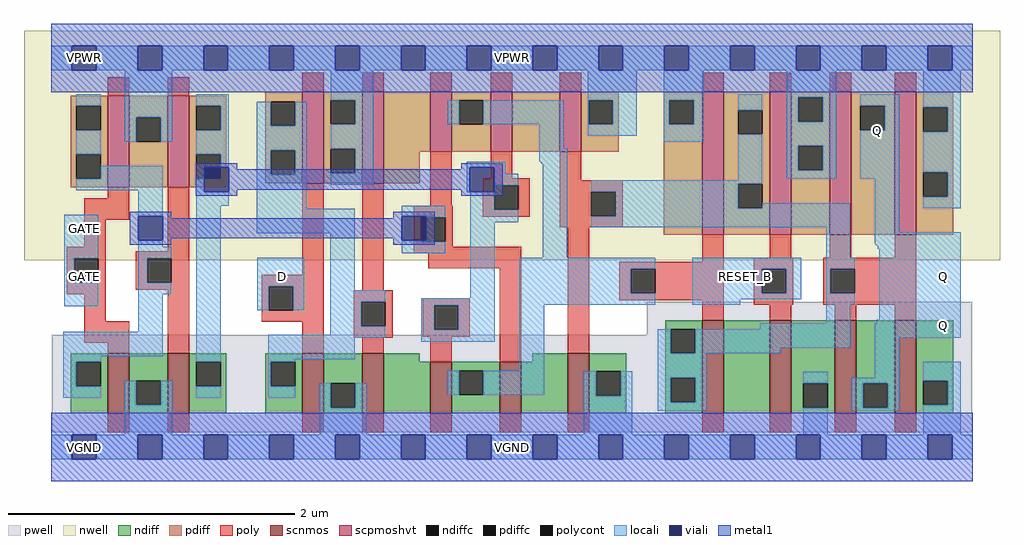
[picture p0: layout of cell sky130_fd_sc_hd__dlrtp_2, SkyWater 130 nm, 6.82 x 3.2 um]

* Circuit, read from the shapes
.subckt sky130_fd_sc_hd__dlrtp_2 D GATE RESET_B VGND VNB VPB VPWR Q
XM1 VGND GATE n1 VNB sky130_fd_pr__nfet_01v8 w=0.42 l=0.15
XM2 n2 n1 VGND VNB sky130_fd_pr__nfet_01v8 w=0.42 l=0.15
XM3 VGND D n3 VNB sky130_fd_pr__nfet_01v8 w=0.42 l=0.15
XM4 n4 n3 VGND VNB sky130_fd_pr__nfet_01v8 w=0.42 l=0.15
XM5 n5 n2 n4 VNB sky130_fd_pr__nfet_01v8 w=0.36 l=0.15
XM6 n6 n1 n5 VNB sky130_fd_pr__nfet_01v8 w=0.36 l=0.15
XM7 VGND n7 n6 VNB sky130_fd_pr__nfet_01v8 w=0.42 l=0.15
XM8 n8 n5 n7 VNB sky130_fd_pr__nfet_01v8 w=0.65 l=0.15
XM9 VGND RESET_B n8 VNB sky130_fd_pr__nfet_01v8 w=0.65 l=0.15
XM10 Q n7 VGND VNB sky130_fd_pr__nfet_01v8 w=0.65 l=0.15 m=2
XM11 VPWR GATE n1 VPB sky130_fd_pr__pfet_01v8_hvt w=0.64 l=0.15
XM12 n2 n1 VPWR VPB sky130_fd_pr__pfet_01v8_hvt w=0.64 l=0.15
XM13 VPWR D n3 VPB sky130_fd_pr__pfet_01v8_hvt w=0.64 l=0.15
XM14 n9 n3 VPWR VPB sky130_fd_pr__pfet_01v8_hvt w=0.64 l=0.15
XM15 n5 n1 n9 VPB sky130_fd_pr__pfet_01v8_hvt w=0.42 l=0.15
XM16 n10 n2 n5 VPB sky130_fd_pr__pfet_01v8_hvt w=0.42 l=0.15
XM17 VPWR n7 n10 VPB sky130_fd_pr__pfet_01v8_hvt w=0.42 l=0.15
XM18 n7 n5 VPWR VPB sky130_fd_pr__pfet_01v8_hvt w=1 l=0.15
XM19 VPWR RESET_B n7 VPB sky130_fd_pr__pfet_01v8_hvt w=1 l=0.15
XM20 Q n7 VPWR VPB sky130_fd_pr__pfet_01v8_hvt w=1 l=0.15 m=2
.ends

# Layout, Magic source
magic
tech sky130A
magscale 1 2
<< nwell >>
rect -38 261 1326 582
<< pwell >>
rect 832 157 1287 203
rect 1 21 1287 157
rect 30 -17 64 21
<< scnmos >>
rect 79 47 109 131
rect 163 47 193 131
rect 351 47 381 131
rect 435 47 465 131
rect 530 47 560 119
rect 627 47 657 119
rect 722 47 752 131
rect 910 47 940 177
rect 1004 47 1034 177
rect 1095 47 1125 177
rect 1179 47 1209 177
<< scpmoshvt >>
rect 79 363 109 491
rect 163 363 193 491
rect 351 369 381 497
rect 435 369 465 497
rect 530 413 560 497
rect 614 413 644 497
rect 711 413 741 497
rect 910 297 940 497
rect 1004 297 1034 497
rect 1088 297 1118 497
rect 1179 297 1209 497
<< ndiff >>
rect 27 119 79 131
rect 27 85 35 119
rect 69 85 79 119
rect 27 47 79 85
rect 109 93 163 131
rect 109 59 119 93
rect 153 59 163 93
rect 109 47 163 59
rect 193 119 245 131
rect 193 85 203 119
rect 237 85 245 119
rect 193 47 245 85
rect 299 119 351 131
rect 299 85 307 119
rect 341 85 351 119
rect 299 47 351 85
rect 381 89 435 131
rect 381 55 391 89
rect 425 55 435 89
rect 381 47 435 55
rect 465 119 515 131
rect 858 165 910 177
rect 858 131 866 165
rect 900 131 910 165
rect 672 119 722 131
rect 465 47 530 119
rect 560 107 627 119
rect 560 73 570 107
rect 604 73 627 107
rect 560 47 627 73
rect 657 47 722 119
rect 752 106 804 131
rect 752 72 762 106
rect 796 72 804 106
rect 752 47 804 72
rect 858 97 910 131
rect 858 63 866 97
rect 900 63 910 97
rect 858 47 910 63
rect 940 47 1004 177
rect 1034 89 1095 177
rect 1034 55 1051 89
rect 1085 55 1095 89
rect 1034 47 1095 55
rect 1125 89 1179 177
rect 1125 55 1135 89
rect 1169 55 1179 89
rect 1125 47 1179 55
rect 1209 93 1261 177
rect 1209 59 1219 93
rect 1253 59 1261 93
rect 1209 47 1261 59
<< pdiff >>
rect 27 477 79 491
rect 27 443 35 477
rect 69 443 79 477
rect 27 409 79 443
rect 27 375 35 409
rect 69 375 79 409
rect 27 363 79 375
rect 109 461 163 491
rect 109 427 119 461
rect 153 427 163 461
rect 109 363 163 427
rect 193 477 245 491
rect 193 443 203 477
rect 237 443 245 477
rect 193 409 245 443
rect 193 375 203 409
rect 237 375 245 409
rect 193 363 245 375
rect 299 483 351 497
rect 299 449 307 483
rect 341 449 351 483
rect 299 415 351 449
rect 299 381 307 415
rect 341 381 351 415
rect 299 369 351 381
rect 381 485 435 497
rect 381 451 391 485
rect 425 451 435 485
rect 381 417 435 451
rect 381 383 391 417
rect 425 383 435 417
rect 381 369 435 383
rect 465 413 530 497
rect 560 485 614 497
rect 560 451 570 485
rect 604 451 614 485
rect 560 413 614 451
rect 644 413 711 497
rect 741 485 793 497
rect 741 451 751 485
rect 785 451 793 485
rect 741 413 793 451
rect 856 485 910 497
rect 856 451 864 485
rect 898 451 910 485
rect 465 369 515 413
rect 856 297 910 451
rect 940 471 1004 497
rect 940 437 960 471
rect 994 437 1004 471
rect 940 368 1004 437
rect 940 334 960 368
rect 994 334 1004 368
rect 940 297 1004 334
rect 1034 489 1088 497
rect 1034 455 1044 489
rect 1078 455 1088 489
rect 1034 421 1088 455
rect 1034 387 1044 421
rect 1078 387 1088 421
rect 1034 297 1088 387
rect 1118 477 1179 497
rect 1118 443 1131 477
rect 1165 443 1179 477
rect 1118 297 1179 443
rect 1209 475 1261 497
rect 1209 441 1219 475
rect 1253 441 1261 475
rect 1209 384 1261 441
rect 1209 350 1219 384
rect 1253 350 1261 384
rect 1209 297 1261 350
<< ndiffc >>
rect 35 85 69 119
rect 119 59 153 93
rect 203 85 237 119
rect 307 85 341 119
rect 391 55 425 89
rect 866 131 900 165
rect 570 73 604 107
rect 762 72 796 106
rect 866 63 900 97
rect 1051 55 1085 89
rect 1135 55 1169 89
rect 1219 59 1253 93
<< pdiffc >>
rect 35 443 69 477
rect 35 375 69 409
rect 119 427 153 461
rect 203 443 237 477
rect 203 375 237 409
rect 307 449 341 483
rect 307 381 341 415
rect 391 451 425 485
rect 391 383 425 417
rect 570 451 604 485
rect 751 451 785 485
rect 864 451 898 485
rect 960 437 994 471
rect 960 334 994 368
rect 1044 455 1078 489
rect 1044 387 1078 421
rect 1131 443 1165 477
rect 1219 441 1253 475
rect 1219 350 1253 384
<< poly >>
rect 79 491 109 517
rect 163 491 193 517
rect 351 497 381 523
rect 435 497 465 523
rect 530 497 560 523
rect 614 497 644 523
rect 711 497 741 523
rect 910 497 940 523
rect 1004 497 1034 523
rect 1088 497 1118 523
rect 1179 497 1209 523
rect 79 348 109 363
rect 46 318 109 348
rect 46 280 76 318
rect 22 264 76 280
rect 163 274 193 363
rect 22 230 32 264
rect 66 230 76 264
rect 22 214 76 230
rect 118 264 193 274
rect 118 230 134 264
rect 168 230 193 264
rect 351 241 381 369
rect 118 220 193 230
rect 46 176 76 214
rect 46 146 109 176
rect 79 131 109 146
rect 163 131 193 220
rect 294 225 381 241
rect 294 191 304 225
rect 338 191 381 225
rect 435 219 465 369
rect 530 337 560 413
rect 614 376 644 413
rect 603 366 669 376
rect 507 321 561 337
rect 603 332 619 366
rect 653 332 669 366
rect 603 322 669 332
rect 711 373 741 413
rect 711 357 799 373
rect 711 323 755 357
rect 789 323 799 357
rect 507 287 517 321
rect 551 287 561 321
rect 711 307 799 323
rect 507 280 561 287
rect 507 271 657 280
rect 527 250 657 271
rect 294 175 381 191
rect 351 131 381 175
rect 423 203 477 219
rect 423 169 433 203
rect 467 169 477 203
rect 423 153 477 169
rect 519 198 585 208
rect 519 164 535 198
rect 569 164 585 198
rect 519 154 585 164
rect 435 131 465 153
rect 530 119 560 154
rect 627 119 657 250
rect 722 131 752 307
rect 910 259 940 297
rect 1004 265 1034 297
rect 1088 265 1118 297
rect 1179 265 1209 297
rect 794 249 940 259
rect 794 215 810 249
rect 844 215 940 249
rect 794 205 940 215
rect 910 177 940 205
rect 982 249 1037 265
rect 982 215 993 249
rect 1027 215 1037 249
rect 982 199 1037 215
rect 1079 249 1209 265
rect 1079 215 1089 249
rect 1123 215 1209 249
rect 1079 199 1209 215
rect 1004 177 1034 199
rect 1095 177 1125 199
rect 1179 177 1209 199
rect 79 21 109 47
rect 163 21 193 47
rect 351 21 381 47
rect 435 21 465 47
rect 530 21 560 47
rect 627 21 657 47
rect 722 21 752 47
rect 910 21 940 47
rect 1004 21 1034 47
rect 1095 21 1125 47
rect 1179 21 1209 47
<< polycont >>
rect 32 230 66 264
rect 134 230 168 264
rect 304 191 338 225
rect 619 332 653 366
rect 755 323 789 357
rect 517 287 551 321
rect 433 169 467 203
rect 535 164 569 198
rect 810 215 844 249
rect 993 215 1027 249
rect 1089 215 1123 249
<< locali >>
rect 0 527 29 561
rect 63 527 121 561
rect 155 527 213 561
rect 247 527 305 561
rect 339 527 397 561
rect 431 527 489 561
rect 523 527 581 561
rect 615 527 673 561
rect 707 527 765 561
rect 799 527 857 561
rect 891 527 949 561
rect 983 527 1041 561
rect 1075 527 1133 561
rect 1167 527 1225 561
rect 1259 527 1288 561
rect 35 477 69 493
rect 35 409 69 443
rect 103 461 169 527
rect 103 427 119 461
rect 153 427 169 461
rect 203 477 248 493
rect 391 485 450 527
rect 750 485 818 527
rect 237 443 248 477
rect 203 409 248 443
rect 69 375 156 393
rect 35 359 156 375
rect 18 264 66 325
rect 18 230 32 264
rect 18 197 66 230
rect 122 323 156 359
rect 122 280 156 289
rect 237 391 248 409
rect 203 357 214 375
rect 203 337 248 357
rect 287 449 307 483
rect 341 449 357 483
rect 287 415 357 449
rect 287 381 307 415
rect 341 381 357 415
rect 122 264 168 280
rect 122 230 134 264
rect 122 214 168 230
rect 122 161 156 214
rect 17 127 156 161
rect 17 119 69 127
rect 17 85 35 119
rect 203 119 237 337
rect 287 333 357 381
rect 425 451 450 485
rect 554 451 570 485
rect 604 451 716 485
rect 391 417 450 451
rect 425 383 450 417
rect 682 417 716 451
rect 750 451 751 485
rect 785 451 818 485
rect 750 435 818 451
rect 856 485 912 527
rect 856 451 864 485
rect 898 451 912 485
rect 856 427 912 451
rect 960 471 994 493
rect 682 400 721 417
rect 683 399 721 400
rect 391 367 450 383
rect 581 391 635 399
rect 684 397 721 399
rect 581 357 585 391
rect 619 382 635 391
rect 619 366 653 382
rect 581 356 619 357
rect 287 299 424 333
rect 288 225 354 265
rect 288 191 304 225
rect 338 191 354 225
rect 390 219 424 299
rect 490 323 551 337
rect 524 321 551 323
rect 490 287 517 289
rect 490 271 551 287
rect 586 332 619 356
rect 586 314 653 332
rect 390 203 467 219
rect 586 208 620 314
rect 687 265 721 397
rect 960 373 994 437
rect 1028 489 1097 527
rect 1028 455 1044 489
rect 1078 455 1097 489
rect 1028 421 1097 455
rect 1028 387 1044 421
rect 1078 387 1097 421
rect 1028 375 1097 387
rect 1131 477 1185 493
rect 1165 443 1185 477
rect 1131 375 1185 443
rect 755 368 994 373
rect 755 357 960 368
rect 789 334 960 357
rect 994 334 1117 341
rect 789 323 1117 334
rect 755 307 1117 323
rect 1083 265 1117 307
rect 1151 300 1185 375
rect 1219 475 1271 527
rect 1253 441 1271 475
rect 1219 384 1271 441
rect 1253 350 1271 384
rect 1219 334 1271 350
rect 1151 285 1271 300
rect 1152 283 1271 285
rect 1153 282 1271 283
rect 1155 277 1271 282
rect 390 169 433 203
rect 390 157 467 169
rect 17 69 69 85
rect 103 59 119 93
rect 153 59 169 93
rect 203 69 237 85
rect 303 153 467 157
rect 517 198 620 208
rect 517 164 535 198
rect 569 164 620 198
rect 303 123 424 153
rect 517 147 620 164
rect 654 249 844 265
rect 654 215 810 249
rect 654 199 844 215
rect 896 249 1048 265
rect 896 215 993 249
rect 1027 215 1048 249
rect 896 207 1048 215
rect 1083 249 1123 265
rect 1083 215 1089 249
rect 896 199 963 207
rect 1083 199 1123 215
rect 303 119 341 123
rect 303 85 307 119
rect 654 107 689 199
rect 1083 173 1117 199
rect 1157 178 1271 277
rect 1154 173 1271 178
rect 991 165 1117 173
rect 303 69 341 85
rect 103 17 169 59
rect 375 55 391 89
rect 425 55 441 89
rect 554 73 570 107
rect 604 73 689 107
rect 848 131 866 165
rect 900 139 1117 165
rect 1151 153 1271 173
rect 900 131 1019 139
rect 375 17 441 55
rect 744 72 762 106
rect 796 72 812 106
rect 744 17 812 72
rect 848 97 916 131
rect 848 63 866 97
rect 900 63 916 97
rect 848 51 916 63
rect 1051 89 1085 105
rect 1151 97 1185 153
rect 1051 17 1085 55
rect 1119 89 1185 97
rect 1119 55 1135 89
rect 1169 55 1185 89
rect 1119 51 1185 55
rect 1219 93 1271 119
rect 1253 59 1271 93
rect 1219 17 1271 59
rect 0 -17 29 17
rect 63 -17 121 17
rect 155 -17 213 17
rect 247 -17 305 17
rect 339 -17 397 17
rect 431 -17 489 17
rect 523 -17 581 17
rect 615 -17 673 17
rect 707 -17 765 17
rect 799 -17 857 17
rect 891 -17 949 17
rect 983 -17 1041 17
rect 1075 -17 1133 17
rect 1167 -17 1225 17
rect 1259 -17 1288 17
<< viali >>
rect 29 527 63 561
rect 121 527 155 561
rect 213 527 247 561
rect 305 527 339 561
rect 397 527 431 561
rect 489 527 523 561
rect 581 527 615 561
rect 673 527 707 561
rect 765 527 799 561
rect 857 527 891 561
rect 949 527 983 561
rect 1041 527 1075 561
rect 1133 527 1167 561
rect 1225 527 1259 561
rect 122 289 156 323
rect 214 375 237 391
rect 237 375 248 391
rect 214 357 248 375
rect 585 357 619 391
rect 490 321 524 323
rect 490 289 517 321
rect 517 289 524 321
rect 29 -17 63 17
rect 121 -17 155 17
rect 213 -17 247 17
rect 305 -17 339 17
rect 397 -17 431 17
rect 489 -17 523 17
rect 581 -17 615 17
rect 673 -17 707 17
rect 765 -17 799 17
rect 857 -17 891 17
rect 949 -17 983 17
rect 1041 -17 1075 17
rect 1133 -17 1167 17
rect 1225 -17 1259 17
<< metal1 >>
rect 0 561 1288 592
rect 0 527 29 561
rect 63 527 121 561
rect 155 527 213 561
rect 247 527 305 561
rect 339 527 397 561
rect 431 527 489 561
rect 523 527 581 561
rect 615 527 673 561
rect 707 527 765 561
rect 799 527 857 561
rect 891 527 949 561
rect 983 527 1041 561
rect 1075 527 1133 561
rect 1167 527 1225 561
rect 1259 527 1288 561
rect 0 496 1288 527
rect 202 391 260 397
rect 202 357 214 391
rect 248 388 260 391
rect 573 391 631 397
rect 573 388 585 391
rect 248 360 585 388
rect 248 357 260 360
rect 202 351 260 357
rect 573 357 585 360
rect 619 357 631 391
rect 573 351 631 357
rect 110 323 168 329
rect 110 289 122 323
rect 156 320 168 323
rect 478 323 536 329
rect 478 320 490 323
rect 156 292 490 320
rect 156 289 168 292
rect 110 283 168 289
rect 478 289 490 292
rect 524 289 536 323
rect 478 283 536 289
rect 0 17 1288 48
rect 0 -17 29 17
rect 63 -17 121 17
rect 155 -17 213 17
rect 247 -17 305 17
rect 339 -17 397 17
rect 431 -17 489 17
rect 523 -17 581 17
rect 615 -17 673 17
rect 707 -17 765 17
rect 799 -17 857 17
rect 891 -17 949 17
rect 983 -17 1041 17
rect 1075 -17 1133 17
rect 1167 -17 1225 17
rect 1259 -17 1288 17
rect 0 -48 1288 -17
<< labels >>
flabel locali s 954 221 988 255 0 FreeSans 200 0 0 0 RESET_B
port 3 nsew signal input
flabel locali s 1138 425 1172 459 0 FreeSans 200 0 0 0 Q
port 8 nsew signal output
flabel locali s 1230 153 1264 187 0 FreeSans 200 0 0 0 Q
port 8 nsew signal output
flabel locali s 1230 221 1264 255 0 FreeSans 200 0 0 0 Q
port 8 nsew signal output
flabel locali s 306 221 340 255 0 FreeSans 200 0 0 0 D
port 1 nsew signal input
flabel locali s 30 221 64 255 0 FreeSans 200 0 0 0 GATE
port 2 nsew clock input
flabel locali s 30 289 64 323 0 FreeSans 200 0 0 0 GATE
port 2 nsew clock input
flabel metal1 s 30 -17 64 17 0 FreeSans 200 0 0 0 VGND
port 4 nsew ground bidirectional abutment
flabel metal1 s 30 527 64 561 0 FreeSans 200 0 0 0 VPWR
port 7 nsew power bidirectional abutment
flabel metal1 s 47 544 47 544 0 FreeSans 200 0 0 0 VPWR
flabel nwell s 30 527 64 561 0 FreeSans 200 0 0 0 VPB
port 6 nsew power bidirectional
flabel nwell s 47 544 47 544 0 FreeSans 200 0 0 0 VPB
flabel nwell s 47 544 47 544 0 FreeSans 200 0 0 0 VPB
flabel pwell s 30 -17 64 17 0 FreeSans 200 0 0 0 VNB
port 5 nsew ground bidirectional
rlabel comment s 0 0 0 0 4 dlrtp_2
rlabel metal1 s 0 -48 1288 48 1 VGND
port 4 nsew ground bidirectional abutment
rlabel metal1 s 0 496 1288 592 1 VPWR
port 7 nsew power bidirectional abutment
<< properties >>
string FIXED_BBOX 0 0 1288 544
string GDS_END 2782732
string GDS_FILE $PDKPATH/libs.ref/sky130_fd_sc_hd/gds/sky130_fd_sc_hd.gds
string GDS_START 2771538
string LEFclass CORE
string LEFsite unithd
string LEFsymmetry X Y R90
<< end >>
